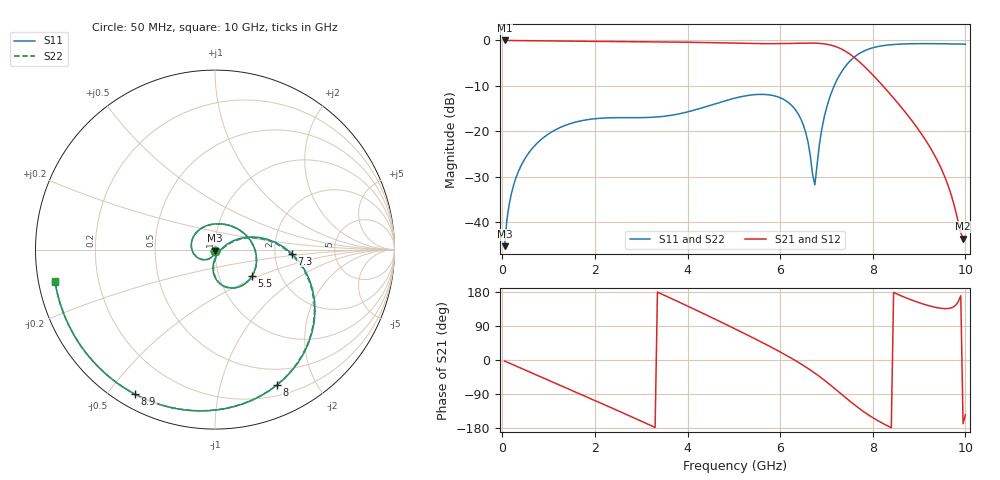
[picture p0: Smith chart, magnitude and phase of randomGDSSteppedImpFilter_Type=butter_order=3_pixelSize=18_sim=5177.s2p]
! freq	dB(S11)	phase(S11)	dB(S12)	phase(S12)
!  dB(S21)	phase(S21)	dB(S22)	phase(S22)
!S-par simulation data
#  GHz  S  DB  R 50
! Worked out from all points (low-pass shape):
!   200 points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, 50 MHz to 10 GHz, reference 50 ohm
!   highest |S21| = -0.01 dB at 50 MHz (marker M1); lowest = -43.7 dB at 9.95 GHz (marker M2)
!   |S21| within 3 dB of the highest: start of sweep to 7.503 GHz
!   lowest |S11| = -45.3 dB at 50 MHz (marker M3), VSWR 1.01, Z = 50 - j0.54 ohm
!   |S11| at or under -10 dB: start of sweep to 7.168 GHz
!   |S22| runs from -45.3 to -0.7 dB; largest |S21 - S12| = 0
!   S11 on the Smith chart (normalised r, x): 50 MHz: 1.00, -0.01; 5.5 GHz: 1.43, -0.46; 7.3 GHz: 2.49, -0.14; 8 GHz: 0.31, -1.51; 8.9 GHz: 0.06, -0.59; 10 GHz: 0.05, -0.10
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0.05  -45.34 -90.4  -0.01 -2.7  -0.01 -2.7  -45.34 -90.4
0.2  -33.60 -100.1  -0.02 -10.8  -0.02 -10.8  -33.60 -100.1
0.5  -25.88 -117.2  -0.05 -26.8  -0.05 -26.8  -25.88 -117.3
1.75  -17.62 175.4  -0.18 -93.5  -0.18 -93.5  -17.62 175.0
2.65  -17.02 126.7  -0.26 -142.1  -0.26 -142.1  -17.02 126.0
3.4  -16.82 85.3  -0.32 176.4  -0.32 176.4  -16.82 84.4
4.3  -14.90 34.3  -0.45 125.0  -0.45 125.0  -14.90 33.5
5.05  -12.64 -9.3  -0.60 80.7  -0.60 80.7  -12.64 -9.7
5.5  -11.91 -36.0  -0.69 53.2  -0.69 53.2  -11.91 -36.2
6.35  -15.57 -87.7  -0.63 -3.0  -0.63 -3.0  -15.55 -87.1
6.55  -20.21 -96.5  -0.58 -18.2  -0.58 -18.2  -20.14 -95.1
6.7  -29.54 -74.9  -0.58 -30.4  -0.58 -30.4  -28.94 -71.7
6.75  -31.83 -24.2  -0.60 -34.7  -0.60 -34.7  -30.80 -25.8
6.95  -16.98 24.8  -0.75 -52.8  -0.75 -52.8  -16.93 23.0
7.3  -7.35 -3.0  -1.78 -87.7  -1.78 -87.7  -7.35 -3.8
7.65  -3.29 -36.2  -4.17 -122.5  -4.17 -122.5  -3.29 -36.8
8  -1.62 -65.3  -7.60 -152.1  -7.60 -152.1  -1.62 -65.7
8.35  -0.99 -89.0  -11.53 -175.8  -11.53 -175.8  -0.99 -89.4
8.9  -0.72 -118.9  -18.43 155.5  -18.43 155.5  -0.72 -119.2
9.5  -0.73 -146.6  -28.74 136.1  -28.74 136.1  -0.73 -146.8
9.95  -0.82 -166.4  -43.66 -168.1  -43.66 -168.1  -0.82 -166.7
10  -0.83 -168.6  -43.41 -144.3  -43.41 -144.3  -0.83 -168.9
